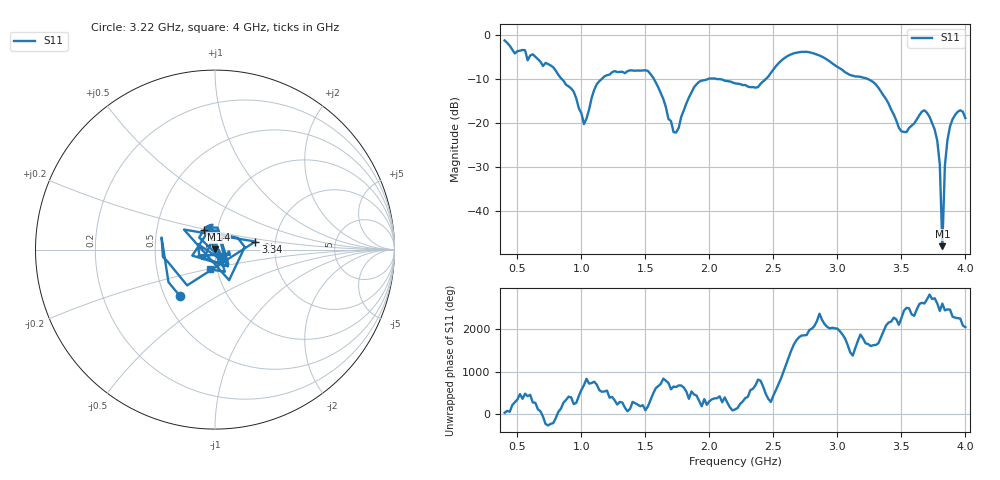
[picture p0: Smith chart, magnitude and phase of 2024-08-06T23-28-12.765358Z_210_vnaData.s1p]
!Created with skrf (http://scikit-rf.org).
# Hz S RI R 50.0
!freq ReS11 ImS11
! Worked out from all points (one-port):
!   181 points, 400 MHz to 4 GHz, reference 50 ohm
!   lowest |S11| = -48.0 dB at 3.82 GHz (marker M1), VSWR 1.01, Z = 50 + j0.396 ohm
!   |S11| at or under -10 dB: 1.567 GHz to 1.988 GHz (420.8 MHz wide, 23.7 % of centre); 2.082 GHz to 2.44 GHz (358.5 MHz wide, 15.9 % of centre); 3.24 GHz to end of sweep (the widest 3 of 4)
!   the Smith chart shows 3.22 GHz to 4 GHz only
!   S11 on the Smith chart (normalised r, x): 3.22 GHz: 0.60, -0.35; 3.34 GHz: 1.57, +0.15; 3.44 GHz: 0.86, +0.19; 4 GHz: 0.92, -0.21
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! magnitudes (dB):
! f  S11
! 400 MHz  -1.2
! 860 MHz  -10.3
! 940 MHz  -12.9
! 1.02 GHz  -20.2
! 1.12 GHz  -11.2
! 1.3 GHz  -8.4
! 1.52 GHz  -8.1
! 1.64 GHz  -14.5
! 1.72 GHz  -22.1
! 1.76 GHz  -21.1
! 1.92 GHz  -10.6
! 2.2 GHz  -11.0
! 2.38 GHz  -11.8
! 2.66 GHz  -4.1
! 3.1 GHz  -9.1
! 3.22 GHz  -9.8
! 3.34 GHz  -12.8
! 3.44 GHz  -18.0
! 3.5 GHz  -21.9
! 3.56 GHz  -21.1
! 3.68 GHz  -17.1
! 3.76 GHz  -21.5
! 3.8 GHz  -29.4
! 3.82 GHz  -48.0
! 3.84 GHz  -29.6
! 3.86 GHz  -23.8
! 3.92 GHz  -18.1
! 4 GHz  -18.9
